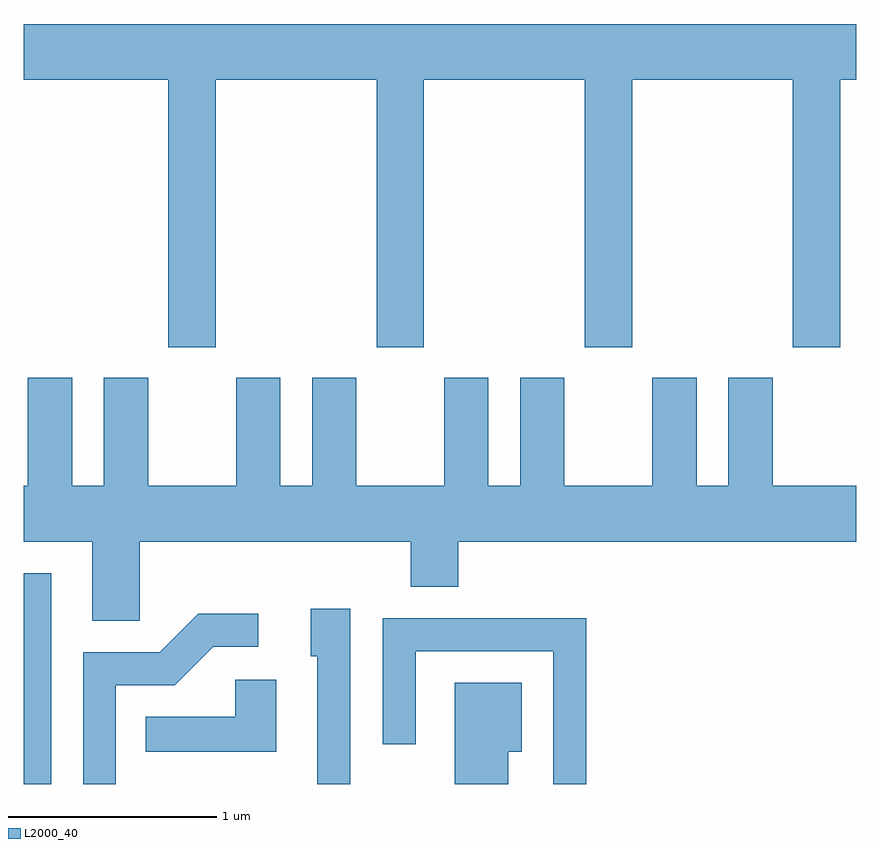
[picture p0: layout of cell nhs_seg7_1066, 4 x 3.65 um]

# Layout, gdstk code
import gdstk
lib = gdstk.Library(unit=1e-6, precision=1e-09)
def R(c, l, rs):  # rectangles x0, y0, x1, y1
    for r in rs: c.add(gdstk.rectangle(r[:2], r[2:], *l))
def P(c, l, *ps):  # polygons
    for p in ps: c.add(gdstk.Polygon(p, *l))
L2000_40 = (2000, 40)

nhs_seg7_1066 = lib.new_cell('nhs_seg7_1066')
R(nhs_seg7_1066, L2000_40, [(217.611,1724.252,217.744,1725.264)])
P(nhs_seg7_1066, L2000_40, [(218.534,1727.636),(219.306,1727.636),(219.306,1726.351),(219.534,1726.351),(219.534,1727.636),(220.306,1727.636),(220.306,1726.351),(220.534,1726.351),(220.534,1727.636),(221.306,1727.636),(221.306,1726.351),(221.534,1726.351),(221.534,1727.636),(221.611,1727.636),(221.611,1727.904),(217.611,1727.904),(217.611,1727.636),(218.306,1727.636),(218.306,1726.351),(218.534,1726.351)],
  [(218.169,1725.416),(219.471,1725.416),(219.471,1725.201),(219.699,1725.201),(219.699,1725.416),(221.611,1725.416),(221.611,1725.684),(221.209,1725.684),(221.209,1726.204),(220.996,1726.204),(220.996,1725.684),(220.844,1725.684),(220.844,1726.204),(220.631,1726.204),(220.631,1725.684),(220.209,1725.684),(220.209,1726.204),(219.996,1726.204),(219.996,1725.684),(219.844,1725.684),(219.844,1726.204),(219.631,1726.204),(219.631,1725.684),(219.209,1725.684),(219.209,1726.204),(218.996,1726.204),(218.996,1725.684),(218.844,1725.684),(218.844,1726.204),(218.631,1726.204),(218.631,1725.684),(218.209,1725.684),(218.209,1726.204),(217.996,1726.204),(217.996,1725.684),(217.844,1725.684),(217.844,1726.204),(217.631,1726.204),(217.631,1725.684),(217.611,1725.684),(217.611,1725.416),(217.941,1725.416),(217.941,1725.036),(218.169,1725.036)],
  [(219.179,1725.094),(218.991,1725.094),(218.991,1724.866),(219.021,1724.866),(219.021,1724.252),(219.179,1724.252)],
  [(218.054,1724.726),(218.337,1724.726),(218.522,1724.911),(218.738,1724.911),(218.738,1725.069),(218.449,1725.069),(218.264,1724.884),(217.896,1724.884),(217.896,1724.252),(218.054,1724.252)],
  [(220.314,1725.049),(219.336,1725.049),(219.336,1724.443),(219.494,1724.443),(219.494,1724.891),(220.156,1724.891),(220.156,1724.252),(220.314,1724.252)],
  [(218.824,1724.754),(218.626,1724.754),(218.626,1724.574),(218.198,1724.574),(218.198,1724.406),(218.824,1724.406)],
  [(219.939,1724.406),(220.004,1724.406),(220.004,1724.739),(219.681,1724.739),(219.681,1724.252),(219.939,1724.252)])

lib.write_gds('nhs_seg7_1066.gds')
